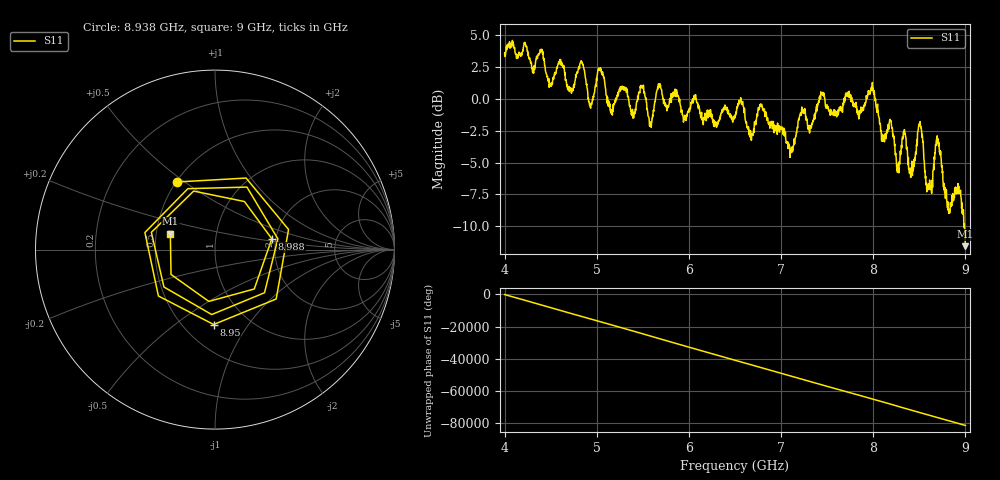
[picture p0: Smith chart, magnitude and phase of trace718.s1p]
! Created with skrf 1.8.0 (http://scikit-rf.org).
# Hz S RI R 50.0
!freq ReS11 ImS11
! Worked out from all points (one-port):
!   1601 points, 4 GHz to 9 GHz, reference 50 ohm
!   lowest |S11| = -11.6 dB at 9 GHz (marker M1), VSWR 1.72, Z = 29.7 + j5.68 ohm
!   |S11| at or under -10 dB: 8.983791 GHz to 8.985064 GHz (1.273 MHz wide, 0.0142 % of centre); 8.989458 GHz to end of sweep
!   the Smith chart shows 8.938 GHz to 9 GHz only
!   S11 on the Smith chart (normalised r, x): 8.938 GHz: 0.51, +0.47; 8.95 GHz: 0.69, -0.70; 8.988 GHz: 1.90, +0.26; 9 GHz: 0.59, +0.11
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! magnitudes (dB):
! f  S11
! 4 GHz  3.5
! 4.625 GHz  2.6
! 4.716 GHz  0.7
! 4.841 GHz  2.9
! 4.931 GHz  -0.7
! 5.031 GHz  2.4
! 5.147 GHz  -0.8
! 5.25 GHz  0.6
! 5.397 GHz  -1.3
! 5.497 GHz  1.0
! 5.581 GHz  -1.8
! 5.672 GHz  1.1
! 5.875 GHz  0.3
! 6.5 GHz  -1.5
! 7.125 GHz  -4.1
! 7.234 GHz  -0.8
! 7.75 GHz  0.4
! 7.994 GHz  0.8
! 8.106 GHz  -3.2
! 8.375 GHz  -4.7
! 8.506 GHz  -2.0
! 8.597 GHz  -6.7
! 8.7 GHz  -3.1
! 8.822 GHz  -8.8
! 8.938 GHz  -7.3
! 8.95 GHz  -7.6
! 8.988 GHz  -9.8
! 9 GHz  -11.6
